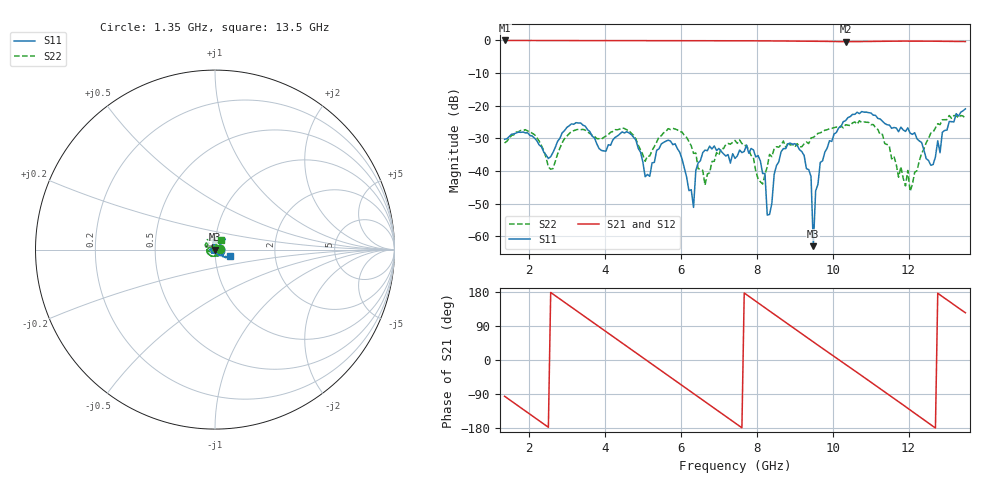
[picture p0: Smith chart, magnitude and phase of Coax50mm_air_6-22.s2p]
!Agilent Technologies,N5230C,MY48100320,A.08.04.10
!Agilent N5230C: A.08.04.10
!Date: Tuesday, August 23, 2016 04:03:27
!Correction: S11(Full 2 Port(1,2))
!S21(Full 2 Port(1,2))
!S12(Full 2 Port(1,2))
!S22(Full 2 Port(1,2))
!S2P File: Measurements: S11, S21, S12, S22:
# Hz S  dB  R 50
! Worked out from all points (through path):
!   201 points, 1.35 GHz to 13.5 GHz, reference 50 ohm
!   highest |S21| = -0.09 dB at 1.35 GHz (marker M1); lowest = -0.5 dB at 10.34 GHz (marker M2)
!   group delay of S21, straight-line fit = 196 ps
!   lowest |S11| = -63.0 dB at 9.491 GHz (marker M3), VSWR 1.00, Z = 50.1 - j0.00433 ohm
!   |S11| at or under -10 dB: start of sweep to end of sweep
!   |S22| runs from -46.2 to -23.0 dB; largest |S21 - S12| = 0.0057
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1.35027e9  -30.30 -17.0  -0.09 -95.7  -0.10 -95.7  -31.45 9.6
2.443746e9  -35.12 -60.2  -0.11 -173.2  -0.12 -173.2  -35.90 -80.7
3.415724e9  -25.99 -4.1  -0.12 118.1  -0.14 118.1  -27.26 47.0
4.266205e9  -29.71 86.1  -0.13 57.9  -0.14 57.9  -27.36 -135.1
5.055938e9  -41.74 92.0  -0.13 2.1  -0.15 2.1  -37.04 80.6
5.42043e9  -33.21 -174.6  -0.15 -23.8  -0.16 -23.8  -29.58 -15.9
5.84567e9  -31.69 173.7  -0.16 -53.9  -0.16 -53.9  -27.16 -53.7
6.331659e9  -51.14 -55.6  -0.15 -88.3  -0.17 -88.3  -34.61 -74.6
6.574654e9  -34.41 -59.0  -0.16 -105.6  -0.17 -105.5  -39.82 -28.6
7.425135e9  -36.16 173.4  -0.18 -165.9  -0.18 -165.8  -30.66 27.9
8.032622e9  -35.26 96.6  -0.20 150.9  -0.21 151.0  -42.35 15.8
8.275616e9  -53.48 70.1  -0.22 133.6  -0.23 133.7  -38.67 118.4
8.640108e9  -34.13 -114.3  -0.25 107.8  -0.26 107.9  -32.03 92.6
9.065349e9  -32.20 -145.2  -0.30 77.8  -0.31 77.8  -31.65 7.9
9.42984e9  -41.72 161.0  -0.33 52.0  -0.33 52.1  -29.93 -68.4
9.490589e9  -63.00 -3.5  -0.33 47.7  -0.34 47.8  -29.70 -86.3
9.672835e9  -37.40 34.8  -0.35 34.9  -0.36 34.9  -28.33 -102.7
1.034107e10  -24.63 47.0  -0.47 -11.8  -0.48 -11.7  -25.87 143.8
1.149529e10  -25.96 70.3  -0.32 -92.7  -0.33 -92.6  -32.45 -48.9
1.204203e10  -28.43 105.6  -0.29 -131.7  -0.29 -131.5  -46.23 169.7
1.264952e10  -38.03 21.4  -0.31 -175.2  -0.33 -175.1  -28.10 -165.3
1.35e10  -21.01 -23.4  -0.42 124.7  -0.43 124.9  -23.98 58.5
